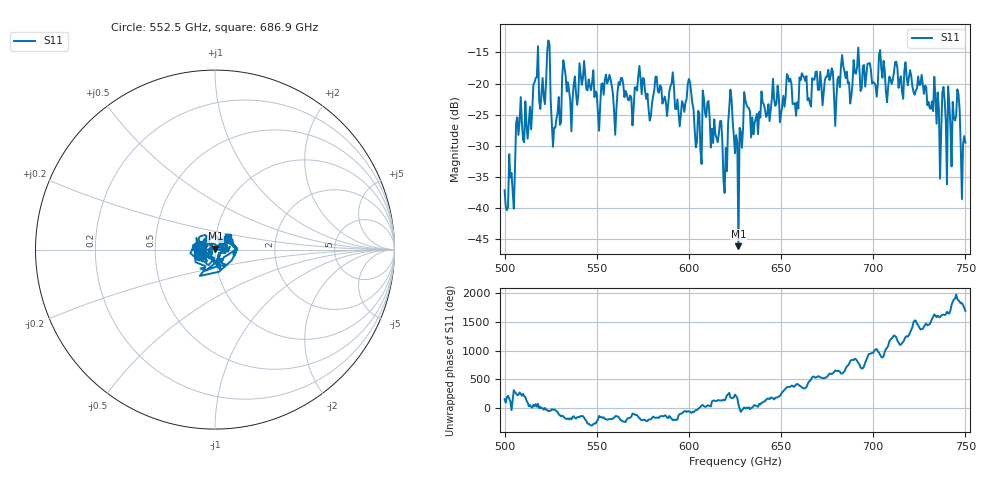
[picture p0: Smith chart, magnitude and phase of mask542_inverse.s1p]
!Created with skrf (http://scikit-rf.org).
# GHz S MA R 50.0
!freq magS11 angS11
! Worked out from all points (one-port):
!   401 points, 500 GHz to 750 GHz, reference 50 ohm
!   lowest |S11| = -46.2 dB at 626.9 GHz (marker M1), VSWR 1.01, Z = 50.2 + j0.442 ohm
!   |S11| at or under -10 dB: start of sweep to end of sweep
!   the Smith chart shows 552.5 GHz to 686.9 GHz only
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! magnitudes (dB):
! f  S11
! 500 GHz  -37.2
! 504.4 GHz  -37.4
! 507.5 GHz  -28.3
! 513.8 GHz  -23.7
! 516.9 GHz  -19.1
! 520.6 GHz  -19.1
! 523.8 GHz  -13.1
! 526.9 GHz  -27.1
! 531.2 GHz  -18.8
! 562.5 GHz  -20.3
! 579.4 GHz  -25.2
! 590.6 GHz  -20.0
! 593.8 GHz  -22.6
! 600.6 GHz  -19.8
! 605.6 GHz  -24.7
! 608.8 GHz  -24.8
! 619.4 GHz  -37.6
! 622.5 GHz  -21.0
! 625 GHz  -31.2
! 626.9 GHz  -46.2
! 631.2 GHz  -23.4
! 635 GHz  -28.2
! 656.2 GHz  -23.3
! 687.5 GHz  -23.2
! 718.8 GHz  -20.3
! 735.6 GHz  -24.2
! 745.6 GHz  -20.9
! 750 GHz  -29.5
